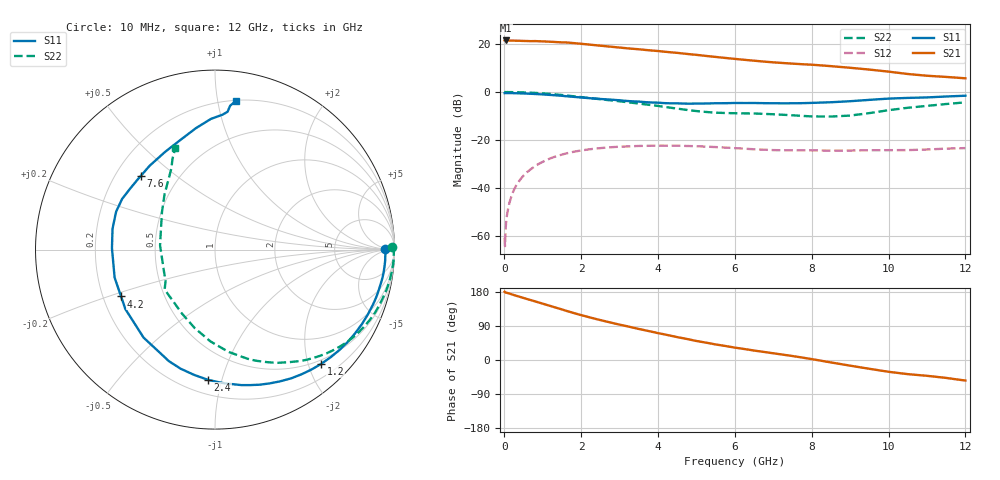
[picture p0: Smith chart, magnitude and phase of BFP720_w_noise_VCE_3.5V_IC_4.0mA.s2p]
! Infineon Technologies  Discrete & RF Semiconductors
! BFP720
! VCE =  3.5 V,  IC =  4.0 mA
! Common Emitter S-Parameters:  Aug 2012
# GHz  S  MA  R  50
!  f  S11  S21  S12  S22
! GHz  MAG  ANG  MAG  ANG  MAG  ANG  MAG  ANG
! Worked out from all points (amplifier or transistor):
!   105 points, 10 MHz to 12 GHz, reference 50 ohm
!   highest |S21| = 21.6 dB at 50 MHz (marker M1)
!   |S21| within 3 dB of that: start of sweep to 3.024 GHz
!   unconditionally stable (mu >= 1): start of sweep to 11.32 MHz; 6.751 GHz to 11.51 GHz
!   at 300 MHz: K = 0.05, MSG = 30.4 dB, |S12| = -39.4 dB
!   at 3.6 GHz: K = 0.43, MSG = 20.1 dB, |S12| = -22.5 dB
!   at 12 GHz: K = 0.81, MSG = 14.6 dB, |S12| = -23.4 dB
!   lowest NFmin = 0.37 dB at 450 MHz
!   S11 on the Smith chart (normalised r, x): 10 MHz: 37, +1; 1.2 GHz: 0.43, -2.22; 2.4 GHz: 0.29, -0.90; 4.2 GHz: 0.28, -0.22; 7.6 GHz: 0.30, +0.38; 12 GHz: 0.20, +1.13
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0.01  0.9479 0.1  11.94 179.9  0.0009 -1.4  0.9869 0.7
0.02  0.951 -0.7  11.82 178.7  0.0006 72.8  0.9968 -0.4
0.05  0.9495 -1.8  11.95 177.8  0.0019 84.1  0.9964 -1.3
0.14  0.9492 -5.3  11.92 175.1  0.005 84.1  0.9963 -3.7
0.3  0.9431 -11.4  11.8 169.9  0.0107 81.7  0.9911 -8.0
0.8  0.9089 -31.1  11.6 154.8  0.0282 69.8  0.9582 -21.6
1.2  0.8688 -47.2  11.23 142.6  0.041 59.8  0.9116 -32.4
1.6  0.8184 -63.8  10.88 130.2  0.0517 49.8  0.8495 -42.8
1.8  0.7932 -71.6  10.55 124.2  0.0562 45.0  0.8159 -47.7
2.1  0.756 -82.6  10 115.9  0.0616 38.3  0.7662 -54.5
2.4  0.7269 -93.0  9.467 107.9  0.066 32.2  0.7213 -61.0
3  0.6724 -112.5  8.502 93.3  0.0719 21.6  0.6401 -72.7
3.5  0.6315 -129.1  7.829 81.9  0.0746 13.9  0.5752 -82.4
4.1  0.591 -149.9  7.054 69.0  0.0757 5.6  0.4984 -95.0
4.2  0.5849 -153.5  6.923 66.9  0.0756 4.4  0.4852 -97.2
5  0.5742 179.2  5.982 50.2  0.0737 -5.1  0.4002 -117.6
6.1  0.5891 157.5  4.836 31.2  0.0665 -13.3  0.3592 -138.3
7.6  0.5826 135.4  3.875 8.9  0.0604 -14.8  0.3224 -149.4
8.5  0.6113 117.1  3.475 -6.4  0.0595 -15.7  0.307 175.6
9.5  0.6851 98.9  2.945 -23.2  0.0608 -15.9  0.3623 144.6
10.5  0.7529 86.8  2.381 -37.3  0.0611 -16.9  0.4686 123.6
12  0.8366 82.0  1.935 -54.3  0.0673 -19.8  0.6078 111.3
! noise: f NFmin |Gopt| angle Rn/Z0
0.45  0.37  0.56  4  0.21
1.8  0.49  0.52  27  0.15
2.4  0.52  0.39  66  0.2
5.5  0.72  0.26  73  0.11
10  1.02  0.41  -96  0.21
